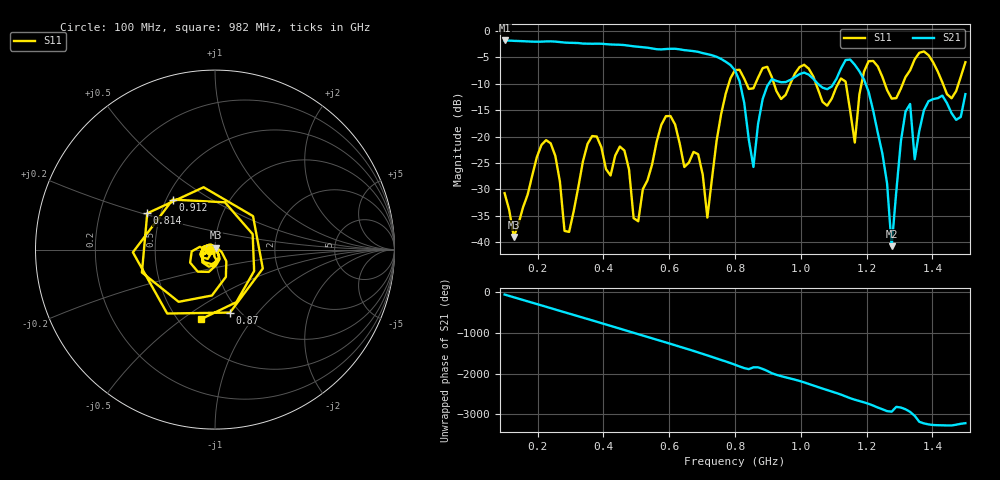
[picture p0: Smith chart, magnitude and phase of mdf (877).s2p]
! NanoVNA-App
! Date: 2025-09-25 15:45:15
! Start: 100MHz Stop: 1,5GHz Points: 101
! S-Parameter data: F S11 S21 S12 S22
# Hz S RI R 50
!  Frequency  S11_Real  S11_Imag  S21_Real  S21_Imag  S12_Real  S12_Imag  S22_Real  S22_Imag
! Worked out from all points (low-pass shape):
!   101 points, 100 MHz to 1.5 GHz, reference 50 ohm
!   highest |S21| = -1.80 dB at 100 MHz (marker M1); lowest = -40.8 dB at 1.276 GHz (marker M2)
!   |S21| within 3 dB of the highest: start of sweep to 739.6 MHz
!   lowest |S11| = -39.0 dB at 128 MHz (marker M3), VSWR 1.02, Z = 50.3 + j1.08 ohm
!   |S11| at or under -10 dB: start of sweep to 781.1 MHz; 918.6 MHz to 968 MHz (49.45 MHz wide, 5.24 % of centre); 1.046 GHz to 1.113 GHz (67.37 MHz wide, 6.24 % of centre)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
!   S12 and S22 are empty: the file has one direction only
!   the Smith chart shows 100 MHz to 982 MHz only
!   S11 on the Smith chart (normalised r, x): 100 MHz: 0.94, -0.01; 814 MHz: 0.42, +0.21; 870 MHz: 0.90, -0.73; 912 MHz: 0.54, +0.35; 982 MHz: 0.65, -0.59
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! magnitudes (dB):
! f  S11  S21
! 100 MHz  -30.7  -1.8
! 128 MHz  -39.0  -1.9
! 212 MHz  -21.6  -2.0
! 282 MHz  -37.9  -2.2
! 338 MHz  -24.7  -2.4
! 464 MHz  -22.6  -2.7
! 506 MHz  -36.0  -3.0
! 576 MHz  -17.8  -3.5
! 716 MHz  -35.3  -4.4
! 800 MHz  -7.4  -7.5
! 814 MHz  -7.4  -9.5
! 856 MHz  -10.9  -25.8
! 870 MHz  -8.9  -17.6
! 912 MHz  -8.8  -9.1
! 982 MHz  -8.1  -8.7
! 1.038 GHz  -8.6  -9.1
! 1.164 GHz  -21.1  -6.4
! 1.192 GHz  -7.7  -9.2
! 1.276 GHz  -12.8  -40.8
! 1.318 GHz  -8.7  -15.3
! 1.346 GHz  -5.4  -24.3
! 1.5 GHz  -5.9  -12.0
